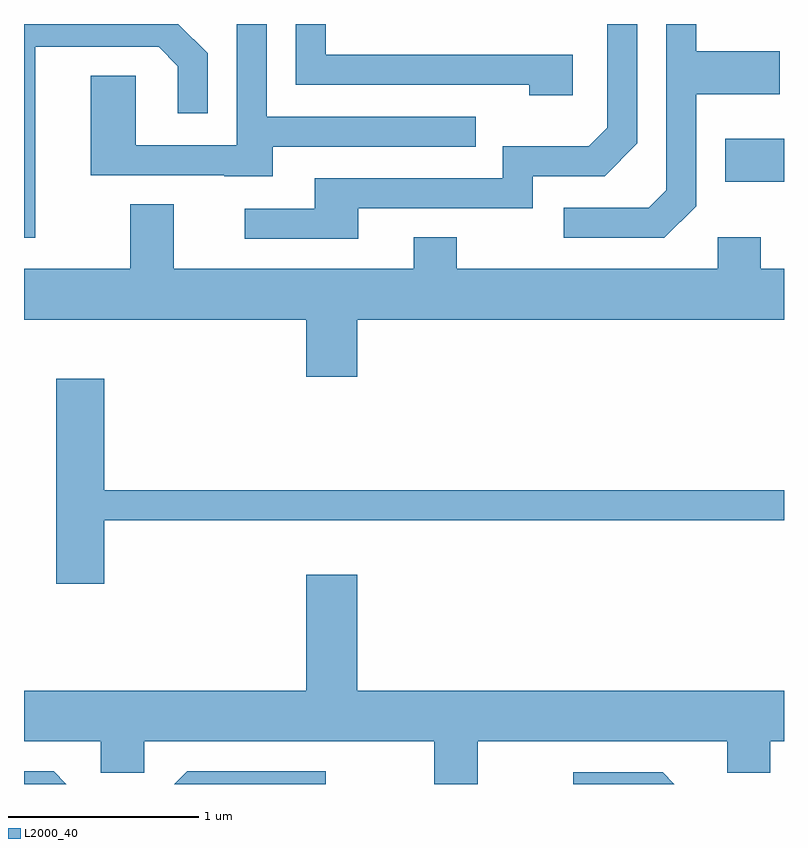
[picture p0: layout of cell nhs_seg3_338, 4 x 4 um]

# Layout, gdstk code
import gdstk
lib = gdstk.Library(unit=1e-6, precision=1e-09)
def R(c, l, rs):  # rectangles x0, y0, x1, y1
    for r in rs: c.add(gdstk.rectangle(r[:2], r[2:], *l))
def P(c, l, *ps):  # polygons
    for p in ps: c.add(gdstk.Polygon(p, *l))
L2000_40 = (2000, 40)

nhs_seg3_338 = lib.new_cell('nhs_seg3_338')
R(nhs_seg3_338, L2000_40, [(197.301,1251.061,197.611,1251.289)])
P(nhs_seg3_338, L2000_40, [(194.919,1251.246),(195.988,1251.246),(195.988,1251.404),(194.889,1251.404),(194.889,1251.892),(194.731,1251.892),(194.731,1251.254),(194.199,1251.254),(194.199,1251.619),(193.961,1251.619),(193.961,1251.096),(194.665,1251.096),(194.665,1251.091),(194.919,1251.091)],
  [(196.499,1251.729),(195.199,1251.729),(195.199,1251.892),(195.041,1251.892),(195.041,1251.571),(196.271,1251.571),(196.271,1251.516),(196.499,1251.516)],
  [(195.369,1250.921),(196.289,1250.921),(196.289,1251.091),(196.667,1251.091),(196.839,1251.264),(196.839,1251.892),(196.681,1251.892),(196.681,1251.347),(196.584,1251.249),(196.131,1251.249),(196.131,1251.079),(195.141,1251.079),(195.141,1250.919),(194.773,1250.919),(194.773,1250.761),(195.369,1250.761)],
  [(193.669,1251.771),(194.319,1251.771),(194.421,1251.669),(194.421,1251.423),(194.579,1251.423),(194.579,1251.737),(194.424,1251.892),(193.611,1251.892),(193.611,1250.766),(193.669,1250.766)],
  [(197.149,1250.934),(197.149,1251.521),(197.589,1251.521),(197.589,1251.749),(197.149,1251.749),(197.149,1251.892),(196.991,1251.892),(196.991,1251.017),(196.899,1250.924),(196.453,1250.924),(196.453,1250.766),(196.982,1250.766)],
  [(195.364,1250.336),(197.611,1250.336),(197.611,1250.604),(197.489,1250.604),(197.489,1250.769),(197.261,1250.769),(197.261,1250.604),(195.889,1250.604),(195.889,1250.769),(195.661,1250.769),(195.661,1250.604),(194.399,1250.604),(194.399,1250.944),(194.171,1250.944),(194.171,1250.604),(193.611,1250.604),(193.611,1250.336),(195.096,1250.336),(195.096,1250.036),(195.364,1250.036)],
  [(194.034,1249.281),(197.611,1249.281),(197.611,1249.439),(194.034,1249.439),(194.034,1250.024),(193.781,1250.024),(193.781,1248.946),(194.034,1248.946)],
  [(195.999,1248.116),(197.311,1248.116),(197.311,1247.951),(197.539,1247.951),(197.539,1248.116),(197.611,1248.116),(197.611,1248.384),(195.364,1248.384),(195.364,1248.994),(195.096,1248.994),(195.096,1248.384),(193.611,1248.384),(193.611,1248.116),(194.016,1248.116),(194.016,1247.951),(194.244,1247.951),(194.244,1248.116),(195.771,1248.116),(195.771,1247.892),(195.999,1247.892)],
  [(195.199,1247.959),(194.469,1247.959),(194.402,1247.892),(195.199,1247.892)],
  [(193.767,1247.959),(193.611,1247.959),(193.611,1247.892),(193.834,1247.892)],
  [(196.972,1247.954),(196.503,1247.954),(196.503,1247.892),(197.034,1247.892)])

lib.write_gds('nhs_seg3_338.gds')
